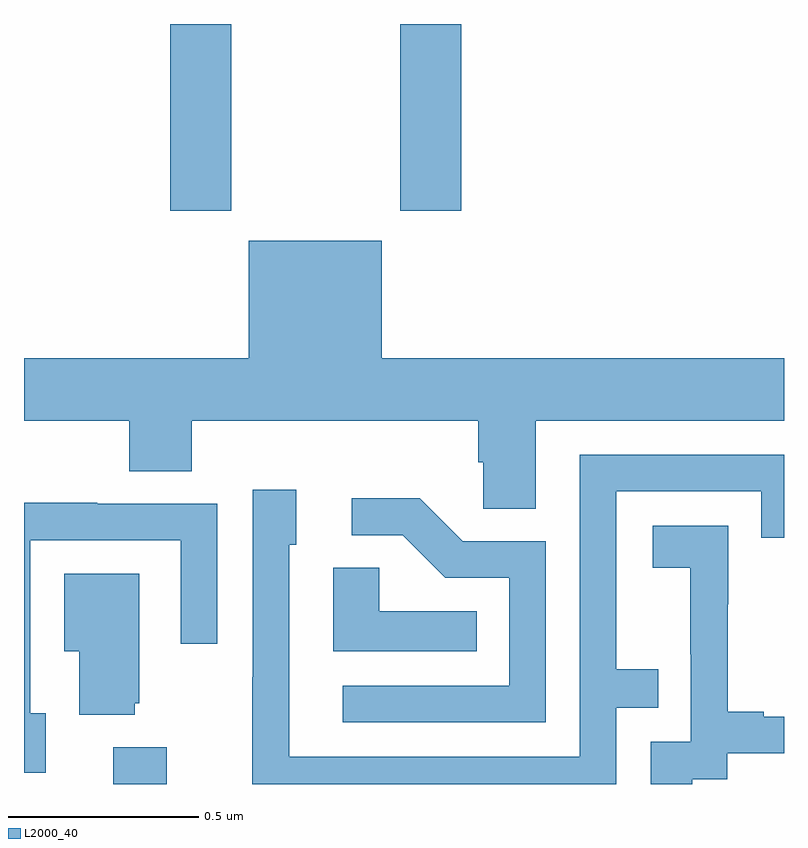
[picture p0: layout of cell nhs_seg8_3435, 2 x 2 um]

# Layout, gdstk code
import gdstk
lib = gdstk.Library(unit=1e-6, precision=1e-09)
def R(c, l, rs):  # rectangles x0, y0, x1, y1
    for r in rs: c.add(gdstk.rectangle(r[:2], r[2:], *l))
def P(c, l, *ps):  # polygons
    for p in ps: c.add(gdstk.Polygon(p, *l))
L2000_40 = (2000, 40)

nhs_seg8_3435 = lib.new_cell('nhs_seg8_3435')
R(nhs_seg8_3435, L2000_40, [(157.235,1092.9,157.375,1092.997), (157.385,1094.409,157.545,1094.9), (157.99,1094.409,158.15,1094.9)])
P(nhs_seg8_3435, L2000_40, [(158.347,1093.856),(159,1093.856),(159,1094.02),(157.942,1094.02),(157.942,1094.329),(157.592,1094.329),(157.592,1094.02),(157,1094.02),(157,1093.856),(157.277,1093.856),(157.277,1093.723),(157.442,1093.723),(157.442,1093.856),(158.195,1093.856),(158.195,1093.747),(158.208,1093.747),(158.208,1093.624),(158.347,1093.624)],
  [(158.559,1093.101),(158.669,1093.101),(158.669,1093.202),(158.559,1093.202),(158.559,1093.671),(158.94,1093.671),(158.94,1093.548),(159,1093.548),(159,1093.767),(158.463,1093.767),(158.463,1092.972),(157.698,1092.972),(157.698,1093.53),(157.717,1093.53),(157.717,1093.675),(157.602,1093.675),(157.602,1093.181),(157.6,1093.181),(157.6,1092.9),(158.559,1092.9)],
  [(158.373,1093.539),(158.154,1093.539),(158.041,1093.652),(157.863,1093.652),(157.863,1093.554),(157.997,1093.554),(158.108,1093.443),(158.277,1093.443),(158.277,1093.158),(157.839,1093.158),(157.839,1093.062),(158.373,1093.062)],
  [(157.057,1093.086),(157.017,1093.086),(157.017,1093.542),(157.413,1093.542),(157.413,1093.269),(157.509,1093.269),(157.509,1093.638),(157.193,1093.638),(157.193,1093.64),(157,1093.64),(157,1092.93),(157.057,1092.93)],
  [(158.758,1092.913),(158.85,1092.913),(158.85,1092.981),(159,1092.981),(159,1093.077),(158.947,1093.077),(158.947,1093.09),(158.852,1093.09),(158.852,1093.373),(158.853,1093.373),(158.853,1093.579),(158.655,1093.579),(158.655,1093.469),(158.753,1093.469),(158.753,1093.241),(158.754,1093.241),(158.754,1093.011),(158.649,1093.011),(158.649,1092.9),(158.758,1092.9)],
  [(158.192,1093.354),(157.935,1093.354),(157.935,1093.469),(157.814,1093.469),(157.814,1093.25),(158.192,1093.25)],
  [(157.292,1093.113),(157.303,1093.113),(157.303,1093.453),(157.106,1093.453),(157.106,1093.25),(157.145,1093.25),(157.145,1093.082),(157.292,1093.082)])

lib.write_gds('nhs_seg8_3435.gds')
